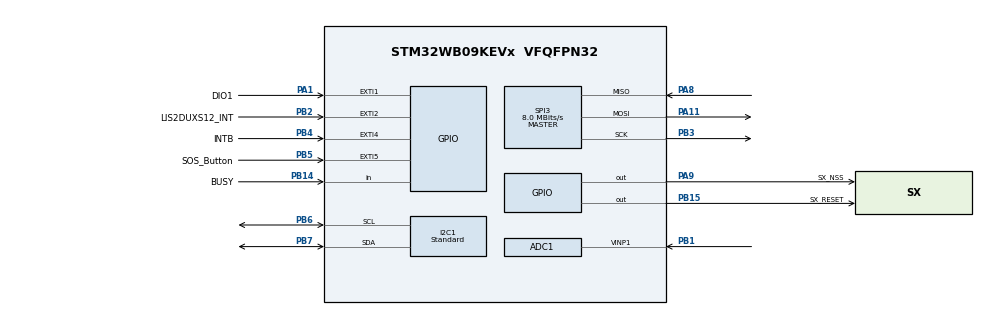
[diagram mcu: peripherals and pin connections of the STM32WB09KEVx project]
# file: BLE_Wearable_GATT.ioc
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ADC1.Channel-6\#ChannelRegularConversion=ADC_CHANNEL_VINP1
ADC1.ContinuousConvMode=DISABLE
ADC1.DataRatio=ADC_DS_RATIO_1
ADC1.Gain-6\#ChannelRegularConversion=uADCxCalibrationPoint1_Gain
ADC1.Gain1=uADCxCalibrationPoint1_Gain
ADC1.NbrOfConversionFlag=1
ADC1.Number-6\#ChannelRegularConversion=ADC_CALIB_POINT_1
ADC1.Offset-6\#ChannelRegularConversion=uADCxCalibrationPoint1_Offset
ADC1.Offset1=uADCxCalibrationPoint1_Offset
ADC1.Rank-6\#ChannelRegularConversion=1
ADC1.RankArg-6\#ChannelRegularConversion=ADC_RANK_1
ADC1.SampleRate=ADC_SAMPLE_RATE_140
ADC1.SelectedChannel=ADC_CHANNEL_VINP1
ADC1.VoltRange=ADC_VIN_RANGE_3V6
ADC1.master=1
I2C1.AddressingMode=I2C_ADDRESSINGMODE_7BIT
I2C1.Analog_Filter=I2C_ANALOGFILTER_ENABLE
I2C1.DualAddressMode=I2C_DUALADDRESS_DISABLE
I2C1.GeneralCallMode=I2C_GENERALCALL_DISABLE
I2C1.I2C_Coeff_DF=0
I2C1.I2C_Fall_Time=100
I2C1.I2C_Rise_Time=100
I2C1.I2C_Speed_Mode=I2C_Standard
I2C1.NoStretchMode=I2C_NOSTRETCH_DISABLE
I2C1.OwnAddress=0
I2C1.Speed=100
I2C1.Timing=0x00503D58
Mcu.Family=STM32WB0
Mcu.Name=STM32WB09KEVx
Mcu.Package=VFQFPN32
NVIC.GPIOA_IRQn=true\:1\:0\:false\:false\:true\:true\:true\:true
NVIC.GPIOB_IRQn=true\:2\:0\:true\:false\:true\:true\:true\:true
NVIC.PKA_IRQn=true\:1\:0\:true\:false\:true\:true\:true\:true
NVIC.RADIO_RRM_IRQn=true\:0\:0\:false\:false\:true\:false\:true\:true
NVIC.RADIO_TIMER_CPU_WKUP_IRQn=true\:0\:0\:false\:false\:true\:false\:true\:true
NVIC.RADIO_TIMER_ERROR_IRQn=true\:0\:0\:false\:false\:true\:false\:true\:true
NVIC.RADIO_TXRX_IRQn=true\:0\:0\:false\:false\:true\:false\:true\:true
NVIC.RADIO_TXRX_SEQ_IRQn=true\:0\:0\:false\:false\:true\:false\:true\:true
OSCIN.Mode=HSE-External-Oscillator
OSCIN.Signal=RCC_OSC_IN
OSCOUT.Mode=HSE-External-Oscillator
OSCOUT.Signal=RCC_OSC_OUT
PA1.GPIO_Label=DIO1
PA1.GPIO_ModeDefaultEXTI=GPIO_MODE_IT_RISING
PA1.GPIO_PuPd=GPIO_PULLDOWN
PA1.Signal=GPXTI1
PA11.Mode=Full_Duplex_Master
PA11.Signal=SPI3_MOSI
PA2.Mode=Serial_Wire
PA2.Signal=DEBUG_SWDIO
PA3.Mode=Serial_Wire
PA3.Signal=DEBUG_SWCLK
PA8.Mode=Full_Duplex_Master
PA8.Signal=SPI3_MISO
PA9.GPIO_Label=SX_NSS
PA9.GPIO_ModeDefaultOutputPP=GPIO_MODE_OUTPUT_PP
PA9.GPIO_PinState=GPIO_PIN_SET
PA9.GPIO_PuPd=GPIO_PULLUP
PA9.Signal=GPIO_Output
PB1.Mode=VINP1
PB1.Signal=ADC1_VINP1
PB12.Mode=LSE-External-Oscillator
PB12.Signal=RCC_OSC32_OUT
PB13.Mode=LSE-External-Oscillator
PB13.Signal=RCC_OSC32_IN
PB14.GPIO_Label=BUSY
PB14.Signal=GPIO_Input
PB15.GPIO_Label=SX_RESET
PB15.GPIO_ModeDefaultOutputPP=GPIO_MODE_OUTPUT_PP
PB15.GPIO_Speed=GPIO_SPEED_FREQ_HIGH
PB15.Signal=GPIO_Output
PB2.GPIO_Label=LIS2DUXS12_INT
PB2.GPIO_Pu=GPIO_PULLDOWN
PB2.Signal=GPXTI2
PB3.Mode=Full_Duplex_Master
PB3.Signal=SPI3_SCK
PB4.GPIO_Label=INTB
PB4.GPIO_ModeDefaultEXTI=GPIO_MODE_IT_FALLING
PB4.GPIO_PuPd=GPIO_PULLUP
PB4.Signal=GPXTI4
PB5.GPIO_Label=SOS_Button
PB5.GPIO_ModeDefaultEXTI=GPIO_MODE_IT_FALLING
PB5.GPIO_PuPd=GPIO_PULLUP
PB5.Signal=GPXTI5
PB6.GPIO_Pu=GPIO_PULLUP
PB6.Mode=I2C
PB6.Signal=I2C1_SCL
PB7.GPIO_Pu=GPIO_PULLUP
PB7.Mode=I2C
PB7.Signal=I2C1_SDA
PWR.PWR_APC=1
ProjectManager.HeapSize=0x000
ProjectManager.StackSize=0x1800
ProjectManager.TargetToolchain=STM32CubeIDE
RADIO.CFG_NUM_RADIO_TASKS=2
RADIO_TIMER.enableInitialCalibration=FALSE
RADIO_TIMER.periodicCalibrationInterval=0
RCC.BLEMultSource=RCC_RF_CLK_16M
RCC.HSE_VALUE=32000000
RCC.HSI_VALUE=64000000
RCC.LSE_Drive_Capability=RCC_LSEDRIVE_MEDIUMLOW
RCC.LSE_Timout=100
RCC.RC64MPLLSource=RCC_LSCOSOURCE_PLL64
RCC.RTCClockSelection=RCC_RTC_WDG_BLEWKUP_CLKSOURCE_LSE
RCC.SYSCLK64Divider=RCC_RC64MPLL_DIV2
RF1.Mode=RF1_Activate
RF1.Signal=RADIO_RF1
SPI3.BaudRatePrescaler=SPI_BAUDRATEPRESCALER_4
SPI3.CalculateBaudRate=8.0 MBits/s
SPI3.DataSize=SPI_DATASIZE_8BIT
SPI3.Direction=SPI_DIRECTION_2LINES
SPI3.Mode=SPI_MODE_MASTER
SPI3.NSSPMode=SPI_NSS_PULSE_ENABLE
SPI3.VirtualType=VM_MASTER
STM32_BLE.AD_TYPE_COMPLETE_LOCAL_NAME=BLEWearable
STM32_BLE.AD_TYPE_COMPLETE_LOCAL_NAME_LENGTH=12
STM32_BLE.AD_TYPE_MANUFACTURER_DATA_NBR=11
STM32_BLE.AD_TYPE_MANUFACTURER_SPECIFIC_DATA_COMPANY_IDENTIFIER=30,00
STM32_BLE.CFG_BD_ADDRESS_TYPE=HCI_ADDR_STATIC_RANDOM_ADDR
STM32_BLE.CFG_BLE_COC_MPS_MAX=247
STM32_BLE.CFG_BLE_CONNECTION_ENABLED=1
STM32_BLE.CFG_BLE_CONN_EVENT_LENGTH_MAX=4294967295
STM32_BLE.CFG_BLE_CONN_EVENT_LENGTH_MAX_HEXA=0xFFFFFFFF
STM32_BLE.CFG_BLE_CONTROLLER_2M_CODED_PHY_ENABLED=1
STM32_BLE.CFG_BLE_NUM_ADV_SETS=1
STM32_BLE.CFG_BLE_NUM_AUX_SCAN_SLOTS=0
STM32_BLE.CFG_BLE_NUM_BRC_BIG_MAX=1
STM32_BLE.CFG_BLE_NUM_BRC_BIS_MAX=2
STM32_BLE.CFG_BLE_NUM_CIG_MAX=2
STM32_BLE.CFG_BLE_NUM_CIS_MAX=2
STM32_BLE.CFG_BLE_NUM_GATT_ATTRIBUTES=21
STM32_BLE.CFG_BLE_NUM_OF_CONCURRENT_GATT_CLIENT_PROC=1
STM32_BLE.CFG_BLE_NUM_SYNC_BIG_MAX=1
STM32_BLE.CFG_BLE_NUM_SYNC_BIS_MAX=2
STM32_BLE.CFG_BLE_NUM_SYNC_SLOTS=0
STM32_BLE.CFG_BLE_SECURE_CONNECTIONS_ENABLED=1
STM32_BLE.CFG_BONDING_MODE=1
STM32_BLE.CFG_DEBUG_APP_TRACE=1
STM32_BLE.CFG_GAP_DEVICE_NAME=BLEWearable
STM32_BLE.CFG_GAP_DEVICE_NAME_LENGTH=11
STM32_BLE.CFG_LPM_SUPPORTED=1
STM32_BLE.CFG_PUBLIC_BD_ADDRESS=0x0280E1AAABAC
STM32_BLE.INCLUDE_AD_TYPE_COMPLETE_LOCAL_NAME=1
STM32_BLE.INCLUDE_AD_TYPE_MANUFACTURER_SPECIFIC_DATA=1
STM32_BLE.NUMBER_OF_SERVICES=1
STM32_BLE.SERVICE1_CHAR1_GATT_NOTIFY_ATTRIBUTE_WRITE=BLE_GATT_SRV_GATT_NOTIFY_ATTRIBUTE_WRITE
STM32_BLE.SERVICE1_CHAR1_GATT_NOTIFY_READ_REQ_AND_WAIT_FOR_APPL_RESP=\ 
STM32_BLE.SERVICE1_CHAR1_GATT_NOTIFY_WRITE_REQ_AND_WAIT_FOR_APPL_RESP=\ 
STM32_BLE.SERVICE1_CHAR1_LONG_NAME=ControlCommand
STM32_BLE.SERVICE1_CHAR1_PROP_READ=\ 
STM32_BLE.SERVICE1_CHAR1_PROP_WRITE=BLE_GATT_SRV_CHAR_PROP_WRITE
STM32_BLE.SERVICE1_CHAR1_SHORT_NAME=CONTROL
STM32_BLE.SERVICE1_CHAR1_UUID=19 ED 82 AE ED 21 4C 9D 41 45 22 8E 41 FE 00 00
STM32_BLE.SERVICE1_CHAR1_UUID_128_INPUT_TYPE=1
STM32_BLE.SERVICE1_CHAR1_VALUE_LENGTH=8
STM32_BLE.SERVICE1_CHAR2_LONG_NAME=SENSOR_DATA
STM32_BLE.SERVICE1_CHAR2_PROP_NOTIFY=BLE_GATT_SRV_CHAR_PROP_NOTIFY
STM32_BLE.SERVICE1_CHAR2_PROP_READ=BLE_GATT_SRV_CHAR_PROP_READ
STM32_BLE.SERVICE1_CHAR2_SHORT_NAME=SENSOR_DATA
STM32_BLE.SERVICE1_CHAR2_UUID=19 ED 82 AE ED 21 4C 9D 41 45 22 8E 42 FE 00 00
STM32_BLE.SERVICE1_CHAR2_UUID_128_INPUT_TYPE=1
STM32_BLE.SERVICE1_CHAR2_VALUE_LENGTH=16
STM32_BLE.SERVICE1_CHAR3_LONG_NAME=DEVICE_STATUS
STM32_BLE.SERVICE1_CHAR3_PROP_NOTIFY=BLE_GATT_SRV_CHAR_PROP_NOTIFY
STM32_BLE.SERVICE1_CHAR3_PROP_READ=BLE_GATT_SRV_CHAR_PROP_READ
STM32_BLE.SERVICE1_CHAR3_SHORT_NAME=DEVICE_STATUS
STM32_BLE.SERVICE1_CHAR3_UUID=19 ED 82 AE ED 21 4C 9D 41 45 22 8E 43 FE 00 00
STM32_BLE.SERVICE1_CHAR3_UUID_128_INPUT_TYPE=1
STM32_BLE.SERVICE1_CHAR3_VALUE_LENGTH=8
STM32_BLE.SERVICE1_CHAR4_LONG_NAME=NFC_DATA
STM32_BLE.SERVICE1_CHAR4_PROP_NOTIFY=BLE_GATT_SRV_CHAR_PROP_NOTIFY
STM32_BLE.SERVICE1_CHAR4_PROP_READ=BLE_GATT_SRV_CHAR_PROP_READ
STM32_BLE.SERVICE1_CHAR4_SHORT_NAME=NFC_DATA
STM32_BLE.SERVICE1_CHAR4_UUID=19 ED 82 AE ED 21 4C 9D 41 45 22 8E 44 FE 00 00
STM32_BLE.SERVICE1_CHAR4_UUID_128_INPUT_TYPE=1
STM32_BLE.SERVICE1_CHAR4_VALUE_LENGTH=20
STM32_BLE.SERVICE1_CHAR5_LONG_NAME=ECG_DATA
STM32_BLE.SERVICE1_CHAR5_PROP_NOTIFY=BLE_GATT_SRV_CHAR_PROP_NOTIFY
STM32_BLE.SERVICE1_CHAR5_PROP_READ=BLE_GATT_SRV_CHAR_PROP_READ
STM32_BLE.SERVICE1_CHAR5_SHORT_NAME=ECG_DATA
STM32_BLE.SERVICE1_CHAR5_UUID=19 ED 82 AE ED 21 4C 9D 41 45 22 8E 45 FE 00 00
STM32_BLE.SERVICE1_CHAR5_UUID_128_INPUT_TYPE=1
STM32_BLE.SERVICE1_CHAR5_VALUE_LENGTH=20
STM32_BLE.SERVICE1_CHAR6_LONG_NAME=DEBUG_DATA
STM32_BLE.SERVICE1_CHAR6_PROP_NOTIFY=BLE_GATT_SRV_CHAR_PROP_NOTIFY
STM32_BLE.SERVICE1_CHAR6_PROP_READ=BLE_GATT_SRV_CHAR_PROP_READ
STM32_BLE.SERVICE1_CHAR6_PROP_WRITE=BLE_GATT_SRV_CHAR_PROP_WRITE
STM32_BLE.SERVICE1_CHAR6_SHORT_NAME=DEBUG_DATA
STM32_BLE.SERVICE1_CHAR6_UUID=19 ED 82 AE ED 21 4C 9D 41 45 22 8E 46 FE 00 00
STM32_BLE.SERVICE1_CHAR6_UUID_128_INPUT_TYPE=1
STM32_BLE.SERVICE1_CHAR6_VALUE_LENGTH=20
STM32_BLE.SERVICE1_CHAR7_LONG_NAME=RECOVERY_DATA
STM32_BLE.SERVICE1_CHAR7_PROP_NOTIFY=BLE_GATT_SRV_CHAR_PROP_NOTIFY
STM32_BLE.SERVICE1_CHAR7_PROP_READ=BLE_GATT_SRV_CHAR_PROP_READ
STM32_BLE.SERVICE1_CHAR7_SHORT_NAME=RECOVERY_DATA
STM32_BLE.SERVICE1_CHAR7_UUID=19 ED 82 AE ED 21 4C 9D 41 45 22 8E 47 FE 00 00
STM32_BLE.SERVICE1_CHAR7_UUID_128_INPUT_TYPE=1
STM32_BLE.SERVICE1_CHAR7_VALUE_LENGTH=24
STM32_BLE.SERVICE1_LONG_NAME=WearableHealthService
STM32_BLE.SERVICE1_NUMBER_OF_CHARACTERISTICS=7
STM32_BLE.SERVICE1_SHORT_NAME=WEARABLE
STM32_BLE.SERVICE1_UUID=8F E5 B3 D5 2E 7F 4A 98 2A 48 7A CC 40 FE 00 00
STM32_BLE.SERVICE1_UUID_128_INPUT_TYPE=1
VP_ADV_TRACE_VS_ADV_TRACE.Mode=ADV_TRACE_Enabled
VP_COMMON_BLE_VS_Utility_Common_BLE_1.0.0_1.0.0.Mode=Utility_Common
VP_MEMORYMAP_VS_MEMORYMAP.Mode=CurAppReg
VP_MISC_VS_MISC.Mode=MISC_Enabled
VP_PKA_VS_PKA.Mode=PKA_Activate
VP_PWR_VS_SECSignals.Mode=Security/Privilege
VP_RADIO_TIMER_VS_RADIO.Mode=RADIO_Activate
VP_RNG_VS_RNG.Mode=RNG_Activate
VP_SEQUENCER_VS_SEQUENCER.Mode=SEQUENCER_Enabled
VP_STM32_BLE_VS_BLE_HOST_SP.Mode=BLE_Server
VP_TINY_LPM_VS_TINY_LPM.Mode=TINY_LPM_Enabled
board=NUCLEO-WB09KE

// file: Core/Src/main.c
/* USER CODE BEGIN Header */
/**
  ******************************************************************************
  * @file           : main.c
  * @brief          : Main program body
  ******************************************************************************
  * @attention
  *
  * Copyright (c) 2026 STMicroelectronics.
  * All rights reserved.
  *
  * This software is licensed under terms that can be found in the LICENSE file
  * in the root directory of this software component.
  * If no LICENSE file comes with this software, it is provided AS-IS.
  *
  ******************************************************************************
  */
/* USER CODE END Header */
#include "main.h"

/* USER CODE BEGIN Includes */
#include "../../Application/NFC/nfc_manager.h"
#include "../../Application/LoRaTest/lora_test.h"
#include "../../Application/LoRaWAN/lbm_app.h"
#include "../../Application/MAX86150Test/max86150_test.h"
#include "../../Application/SensorTest/sensor_test.h"
#include "../../Application/NEH7100/neh7100.h"
#include "../../Application/wearable_config.h"
#include "stm32_lpm.h"
/* USER CODE END Includes */

/* USER CODE BEGIN PD */
#ifndef uADCxCalibrationPoint1_Gain
#define uADCxCalibrationPoint1_Gain 0
#endif
#ifndef uADCxCalibrationPoint1_Offset
#define uADCxCalibrationPoint1_Offset 0
#endif
/* USER CODE END PD */

ADC_HandleTypeDef hadc1;

I2C_HandleTypeDef hi2c1;

PKA_HandleTypeDef hpka;

SPI_HandleTypeDef hspi3;

void SystemClock_Config(void);
void PeriphCommonClock_Config(void);
static void MX_GPIO_Init(void);
static void MX_RADIO_Init(void);
static void MX_RADIO_TIMER_Init(void);
static void MX_PKA_Init(void);
static void MX_ADC1_Init(void);
static void MX_I2C1_Init(void);
static void MX_SPI3_Init(void);

int main(void)
{

  /* MCU Configuration--------------------------------------------------------*/

  /* Reset of all peripherals, Initializes the Flash interface and the Systick. */
  HAL_Init();

  /* Configure the system clock */
  SystemClock_Config();

  /* Configure the peripherals common clocks */
  PeriphCommonClock_Config();

  /* USER CODE BEGIN SysInit */
  /* The NEH7100 PMIC is configured first, before the radio or any other
   * peripheral is touched: its registers set the rail the rest of the board
   * runs from (values: NEH7100_REGxx_EXPECTED in neh7100.h). It needs I2C1,
   * which the generated code below initialises a second time - harmless. */
  MX_I2C1_Init();
  if (NEH7100_Init())
  {
    (void)NEH7100_EnsureConfig();
  }
  /* USER CODE END SysInit */

  /* Initialize all configured peripherals */
  MX_GPIO_Init();
  MX_RADIO_Init();
  MX_RADIO_TIMER_Init();
  MX_PKA_Init();
  MX_ADC1_Init();
  MX_I2C1_Init();
  MX_SPI3_Init();
  /* USER CODE BEGIN 2 */
  /* First users of I2C1, so a bus fault is diagnosed before NFC/sensors touch it.
   * Results: Live Expression g_sensorTest (and g_max86150Test). */
#if SENSOR_TEST_ENABLE
  SensorTest_Run();
#endif
#if MAX86150_TEST_ENABLE
  MAX86150Test_Run();
#endif
  NFC_Manager_Init();
#if LORA_TEST_ENABLE
  LoRaTest_Run();
#endif
  /* USER CODE END 2 */

  /* Init code for STM32_BLE */
  MX_APPE_Init(NULL);

  /* Infinite loop */
  /* USER CODE BEGIN WHILE */
  /* LoRa Basics Modem no longer starts here: with LBM_APP_ENABLE it starts on
   * the BLE command LoRa join (CONTROL 0x0F, WEARABLE_LoraTask).
   * Stop/Off mode stays forbidden as it was while LBM_App_Init() ran at boot:
   * DeviceTime counts on SysTick, which stops in those modes. */
  UTIL_LPM_SetStopMode(1U << CFG_LPM_LBM, UTIL_LPM_DISABLE);
  UTIL_LPM_SetOffMode(1U << CFG_LPM_LBM, UTIL_LPM_DISABLE);
  while (1)
  {
    /* USER CODE END WHILE */
    MX_APPE_Process();

    /* USER CODE BEGIN 3 */
    NFC_Manager_Process();
  }
  /* USER CODE END 3 */
}

void SystemClock_Config(void)
{
  RCC_OscInitTypeDef RCC_OscInitStruct = {0};
  RCC_ClkInitTypeDef RCC_ClkInitStruct = {0};

  /** Initializes the RCC Oscillators according to the specified parameters
  * in the RCC_OscInitTypeDef structure.
  */
  RCC_OscInitStruct.OscillatorType = RCC_OSCILLATORTYPE_HSE|RCC_OSCILLATORTYPE_LSE;
  RCC_OscInitStruct.HSEState = RCC_HSE_ON;
  RCC_OscInitStruct.LSEState = RCC_LSE_ON;
  if (HAL_RCC_OscConfig(&RCC_OscInitStruct) != HAL_OK)
  {
    Error_Handler();
  }

  /** Configure the SYSCLKSource and SYSCLKDivider
  */
  RCC_ClkInitStruct.SYSCLKSource = RCC_SYSCLKSOURCE_RC64MPLL;
  RCC_ClkInitStruct.SYSCLKDivider = RCC_RC64MPLL_DIV2;

  if (HAL_RCC_ClockConfig(&RCC_ClkInitStruct, FLASH_WAIT_STATES_0) != HAL_OK)
  {
    Error_Handler();
  }
}

void PeriphCommonClock_Config(void)
{
  RCC_PeriphCLKInitTypeDef PeriphClkInitStruct = {0};

  /** Initializes the peripherals clock
  */
  PeriphClkInitStruct.PeriphClockSelection = RCC_PERIPHCLK_SMPS;
  PeriphClkInitStruct.SmpsDivSelection = RCC_SMPSCLK_DIV4;

  if (HAL_RCCEx_PeriphCLKConfig(&PeriphClkInitStruct) != HAL_OK)
  {
    Error_Handler();
  }
}

static void MX_ADC1_Init(void)
{

  ADC_ChannelConfTypeDef ConfigChannel = {0};

  /** Common config
  */
  hadc1.Instance = ADC1;
  hadc1.Init.ConversionType = ADC_CONVERSION_WITH_DS;
  hadc1.Init.SequenceLength = 1;
  hadc1.Init.SamplingMode = ADC_SAMPLING_AT_START;
  hadc1.Init.SampleRate = ADC_SAMPLE_RATE_140;
  hadc1.Init.InvertOutputMode = ADC_DATA_INVERT_NONE;
  hadc1.Init.Overrun = ADC_NEW_DATA_IS_LOST;
  hadc1.Init.ContinuousConvMode = DISABLE;
  hadc1.Init.DownSamplerConfig.DataWidth = ADC_DS_DATA_WIDTH_12_BIT;
  hadc1.Init.DownSamplerConfig.DataRatio = ADC_DS_RATIO_1;
  if (HAL_ADC_Init(&hadc1) != HAL_OK)
  {
    Error_Handler();
  }

  /** Configure Regular Channel
  */
  ConfigChannel.Channel = ADC_CHANNEL_VINP1;
  ConfigChannel.Rank = ADC_RANK_1;
  ConfigChannel.VoltRange = ADC_VIN_RANGE_3V6;
  ConfigChannel.CalibrationPoint.Number = ADC_CALIB_POINT_1;
  ConfigChannel.CalibrationPoint.Gain = uADCxCalibrationPoint1_Gain;
  ConfigChannel.CalibrationPoint.Offset = uADCxCalibrationPoint1_Offset;
  if (HAL_ADC_ConfigChannel(&hadc1, &ConfigChannel) != HAL_OK)
  {
    Error_Handler();
  }

}

static void MX_I2C1_Init(void)
{

  hi2c1.Instance = I2C1;
  hi2c1.Init.Timing = 0x00503D58;
  hi2c1.Init.OwnAddress1 = 0;
  hi2c1.Init.AddressingMode = I2C_ADDRESSINGMODE_7BIT;
  hi2c1.Init.DualAddressMode = I2C_DUALADDRESS_DISABLE;
  hi2c1.Init.OwnAddress2 = 0;
  hi2c1.Init.OwnAddress2Masks = I2C_OA2_NOMASK;
  hi2c1.Init.GeneralCallMode = I2C_GENERALCALL_DISABLE;
  hi2c1.Init.NoStretchMode = I2C_NOSTRETCH_DISABLE;
  if (HAL_I2C_Init(&hi2c1) != HAL_OK)
  {
    Error_Handler();
  }

  /** Configure Analogue filter
  */
  if (HAL_I2CEx_ConfigAnalogFilter(&hi2c1, I2C_ANALOGFILTER_ENABLE) != HAL_OK)
  {
    Error_Handler();
  }

  /** Configure Digital filter
  */
  if (HAL_I2CEx_ConfigDigitalFilter(&hi2c1, 0) != HAL_OK)
  {
    Error_Handler();
  }

}

static void MX_PKA_Init(void)
{

  hpka.Instance = PKA;
  if (HAL_PKA_Init(&hpka) != HAL_OK)
  {
    Error_Handler();
  }

}

static void MX_RADIO_Init(void)
{

  RADIO_HandleTypeDef hradio = {0};

  if (__HAL_RCC_RADIO_IS_CLK_DISABLED())
  {
    /* Radio Peripheral reset */
    __HAL_RCC_RADIO_FORCE_RESET();
    __HAL_RCC_RADIO_RELEASE_RESET();

    /* Enable Radio peripheral clock */
    __HAL_RCC_RADIO_CLK_ENABLE();
  }
  hradio.Instance = RADIO;
  HAL_RADIO_Init(&hradio);

}

static void MX_RADIO_TIMER_Init(void)
{

  RADIO_TIMER_InitTypeDef RADIO_TIMER_InitStruct = {0};

  if (__HAL_RCC_RADIO_IS_CLK_DISABLED())
  {
    /* Radio Peripheral reset */
    __HAL_RCC_RADIO_FORCE_RESET();
    __HAL_RCC_RADIO_RELEASE_RESET();

    /* Enable Radio peripheral clock */
    __HAL_RCC_RADIO_CLK_ENABLE();
  }
  /* Wait to be sure that the Radio Timer is active */
  while(LL_RADIO_TIMER_GetAbsoluteTime(WAKEUP) < 0x10);
  RADIO_TIMER_InitStruct.XTAL_StartupTime = 320;
  RADIO_TIMER_InitStruct.enableInitialCalibration = FALSE;
  RADIO_TIMER_InitStruct.periodicCalibrationInterval = 0;
  HAL_RADIO_TIMER_Init(&RADIO_TIMER_InitStruct);

}

static void MX_SPI3_Init(void)
{

  /* SPI3 parameter configuration*/
  hspi3.Instance = SPI3;
  hspi3.Init.Mode = SPI_MODE_MASTER;
  hspi3.Init.Direction = SPI_DIRECTION_2LINES;
  hspi3.Init.DataSize = SPI_DATASIZE_8BIT;
  hspi3.Init.CLKPolarity = SPI_POLARITY_LOW;
  hspi3.Init.CLKPhase = SPI_PHASE_1EDGE;
  hspi3.Init.NSS = SPI_NSS_SOFT;
  /* Tried /64 (500kHz) to rule out a signal-integrity issue behind the
   * custom board's GetStatus=0xFF (MISO stuck high) - made no difference,
   * so back to /4 (8MHz; the closest power-of-2 divider to 9MHz - this
   * clock only supports /2/4/8/16/32/64/128/256, no exact 9MHz option).
   * Root cause traced to PA8/MISO sitting at ~1.2V (a suspected marginal
   * solder joint), not a clock-speed issue. */
  hspi3.Init.BaudRatePrescaler = SPI_BAUDRATEPRESCALER_4;
  hspi3.Init.FirstBit = SPI_FIRSTBIT_MSB;
  hspi3.Init.TIMode = SPI_TIMODE_DISABLE;
  hspi3.Init.CRCCalculation = SPI_CRCCALCULATION_DISABLE;
  hspi3.Init.CRCPolynomial = 7;
  hspi3.Init.CRCLength = SPI_CRC_LENGTH_DATASIZE;
  hspi3.Init.NSSPMode = SPI_NSS_PULSE_DISABLE;
  if (HAL_SPI_Init(&hspi3) != HAL_OK)
  {
    Error_Handler();
  }

}

static void MX_GPIO_Init(void)
{
  GPIO_InitTypeDef GPIO_InitStruct = {0};

  /* GPIO Ports Clock Enable */
  __HAL_RCC_GPIOB_CLK_ENABLE();
  __HAL_RCC_GPIOA_CLK_ENABLE();

  /*Configure GPIO pin Output Level */
  /* SX_NSS is active-low chip select; it must idle HIGH (deselected), not
   * LOW, otherwise the SX1262 sees itself selected continuously from
   * power-up through the whole reset sequence with no clock activity. */
  HAL_GPIO_WritePin(SX_NSS_GPIO_Port, SX_NSS_Pin, GPIO_PIN_SET);

  /*Configure GPIO pin Output Level */
  HAL_GPIO_WritePin(SX_RESET_GPIO_Port, SX_RESET_Pin, GPIO_PIN_RESET);

  /*Configure GPIO pin : LIS2DUXS12_INT_Pin */
  GPIO_InitStruct.Pin = LIS2DUXS12_INT_Pin;
  GPIO_InitStruct.Mode = GPIO_MODE_IT_RISING;
  GPIO_InitStruct.Pull = GPIO_NOPULL;
  HAL_GPIO_Init(LIS2DUXS12_INT_GPIO_Port, &GPIO_InitStruct);

  /*Configure GPIO pin : PA2 */
  GPIO_InitStruct.Pin = GPIO_PIN_2;
  GPIO_InitStruct.Mode = GPIO_MODE_AF_PP;
  GPIO_InitStruct.Pull = GPIO_PULLUP;
  GPIO_InitStruct.Speed = GPIO_SPEED_FREQ_LOW;
  GPIO_InitStruct.Alternate = GPIO_AF7_SWDIO;
  HAL_GPIO_Init(GPIOA, &GPIO_InitStruct);

  /*Configure GPIO pin : DIO1_Pin */
  GPIO_InitStruct.Pin = DIO1_Pin;
  GPIO_InitStruct.Mode = GPIO_MODE_IT_RISING;
  GPIO_InitStruct.Pull = GPIO_PULLDOWN;
  HAL_GPIO_Init(DIO1_GPIO_Port, &GPIO_InitStruct);

  /*Configure GPIO pin : SX_NSS_Pin */
  GPIO_InitStruct.Pin = SX_NSS_Pin;
  GPIO_InitStruct.Mode = GPIO_MODE_OUTPUT_PP;
  GPIO_InitStruct.Pull = GPIO_PULLUP;
  GPIO_InitStruct.Speed = GPIO_SPEED_FREQ_LOW;
  HAL_GPIO_Init(SX_NSS_GPIO_Port, &GPIO_InitStruct);

  /*Configure GPIO pin : SX_RESET_Pin */
  GPIO_InitStruct.Pin = SX_RESET_Pin;
  /* Push-pull, not open-drain: actively drives NRESET both ways instead of
   * relying on the MCU's weak internal pull-up to reach a solid HIGH on
   * release (that was the earlier open-drain config's known weak point). */
  GPIO_InitStruct.Mode = GPIO_MODE_OUTPUT_PP;
  GPIO_InitStruct.Pull = GPIO_NOPULL;
  GPIO_InitStruct.Speed = GPIO_SPEED_FREQ_HIGH;
  HAL_GPIO_Init(SX_RESET_GPIO_Port, &GPIO_InitStruct);

  /*Configure GPIO pin : BUSY_Pin */
  GPIO_InitStruct.Pin = BUSY_Pin;
  GPIO_InitStruct.Mode = GPIO_MODE_INPUT;
  GPIO_InitStruct.Pull = GPIO_NOPULL;
  HAL_GPIO_Init(BUSY_GPIO_Port, &GPIO_InitStruct);

  /*Configure GPIO pins : SOS_Button_Pin INTB_Pin */
  GPIO_InitStruct.Pin = SOS_Button_Pin|INTB_Pin;
  GPIO_InitStruct.Mode = GPIO_MODE_IT_FALLING;
  GPIO_InitStruct.Pull = GPIO_PULLUP;
  HAL_GPIO_Init(GPIOB, &GPIO_InitStruct);

  /**/
  HAL_PWREx_EnableGPIOPullUp(PWR_GPIO_A, PWR_GPIO_BIT_2|PWR_GPIO_BIT_9);

  /*RT DEBUG GPIO_Init */
  RT_DEBUG_GPIO_Init();

  /**/
  HAL_PWREx_DisableGPIOPullUp(PWR_GPIO_B, PWR_GPIO_BIT_15|PWR_GPIO_BIT_14);

  /**/
  HAL_PWREx_DisableGPIOPullDown(PWR_GPIO_B, PWR_GPIO_BIT_15|PWR_GPIO_BIT_14);

  /* EXTI interrupt init*/
  HAL_NVIC_SetPriority(GPIOA_IRQn, 1, 0);
  HAL_NVIC_EnableIRQ(GPIOA_IRQn);

  HAL_NVIC_SetPriority(GPIOB_IRQn, 2, 0);
  HAL_NVIC_EnableIRQ(GPIOB_IRQn);

  /* USER CODE BEGIN MX_GPIO_Init_2 */

  /* LIS2DUXS12TR RES pin (interrupts routed there by INT1_ON_RES; INT1 itself
   * is the Qvar electrode): active-high, task-level I2C/QVar/MLC handling. */
  GPIO_InitStruct.Pin = LIS2DUXS12_INT_Pin;
  GPIO_InitStruct.Mode = GPIO_MODE_IT_RISING;
  GPIO_InitStruct.Pull = GPIO_PULLDOWN;
  HAL_GPIO_Init(LIS2DUXS12_INT_GPIO_Port, &GPIO_InitStruct);

  HAL_NVIC_SetPriority(GPIOB_IRQn, 2U, 0U);
  HAL_NVIC_EnableIRQ(GPIOB_IRQn);

  /* USER CODE END MX_GPIO_Init_2 */
}

/* USER CODE BEGIN 4 */

/* USART1 was removed (PA1 is fixed to SX1262 DIO1 by the board schematic),
 * so printf()/APP_DBG_MSG() have no trace sink anymore; discard silently. */
int __io_putchar(int ch)
{
  return ch;
}

/* USER CODE END 4 */

void Error_Handler(void)
{
  __disable_irq();
  while (1)
  {
  }
}
